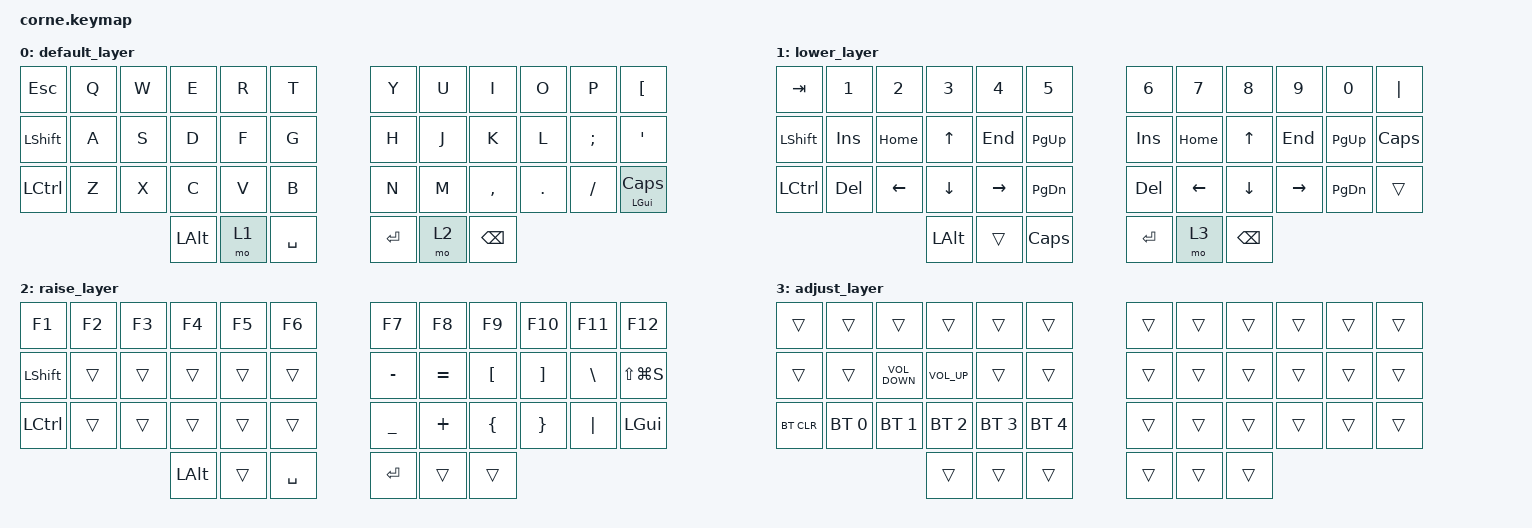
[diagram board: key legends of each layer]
/*
 * Copyright (c) 2020 The ZMK Contributors
 *
 * SPDX-License-Identifier: MIT
 */

#include <behaviors.dtsi>
#include <dt-bindings/zmk/bt.h>
#include <dt-bindings/zmk/keys.h>

/ {
    keymap {
        compatible = "zmk,keymap";

        default_layer {
            // -----------------------------------------------------------------------------------------
            // |  TAB |  Q  |  W  |  E  |  R  |  T  |   |  Y  |  U   |  I  |  O  |  P  | BKSP |
            // | CTRL |  A  |  S  |  D  |  F  |  G  |   |  H  |  J   |  K  |  L  |  ;  |  '   |
            // | SHFT |  Z  |  X  |  C  |  V  |  B  |   |  N  |  M   |  ,  |  .  |  /  | ESC  |
            //                    | GUI | LWR | SPC |   | ENT | RSE  | ALT |

            bindings = <
    &kp ESCAPE  &kp Q  &kp W         &kp E  &kp R      &kp T      &kp Y  &kp U          &kp I    &kp O     &kp P           &kp LBKT
&kp LEFT_SHIFT  &kp A  &kp S         &kp D  &kp F      &kp G      &kp H  &kp J          &kp K    &kp L  &kp SEMI            &kp SQT
     &kp LCTRL  &kp Z  &kp X         &kp C  &kp V      &kp B      &kp N  &kp M      &kp COMMA  &kp DOT  &kp FSLH  &mt LGUI CAPSLOCK
                              &kp LEFT_ALT  &mo 1  &kp SPACE    &kp RET  &mo 2  &kp BACKSPACE
            >;
        };

        lower_layer {
            // -----------------------------------------------------------------------------------------
            // |  TAB |  1  |  2  |  3  |  4  |  5  |   |  6  |  7  |  8  |  9  |  0  | BKSP |
            // | BTCLR| BT1 | BT2 | BT3 | BT4 | BT5 |   | LFT | DWN |  UP | RGT |     |      |
            // | SHFT |     |     |     |     |     |   |     |     |     |     |     |      |
            //                    | GUI |     | SPC |   | ENT |     | ALT |

            bindings = <
       &kp TAB      &kp N1          &kp N2          &kp N3     &kp N4         &kp N5        &kp N6          &kp N7         &kp N8           &kp N9         &kp N0      &kp PIPE
&kp LEFT_SHIFT  &kp INSERT        &kp HOME    &kp UP_ARROW    &kp END    &kp PAGE_UP    &kp INSERT        &kp HOME         &kp UP          &kp END      &kp PG_UP  &kp CAPSLOCK
     &kp LCTRL     &kp DEL  &kp LEFT_ARROW  &kp DOWN_ARROW  &kp RIGHT  &kp PAGE_DOWN    &kp DELETE  &kp LEFT_ARROW       &kp DOWN  &kp RIGHT_ARROW  &kp PAGE_DOWN        &trans
                                              &kp LEFT_ALT     &trans   &kp CAPSLOCK       &kp RET           &mo 3  &kp BACKSPACE
            >;
        };

        raise_layer {
            // -----------------------------------------------------------------------------------------
            // |  TAB |  !  |  @  |  #  |  $  |  %  |   |  ^  |  &  |  *  |  (  |  )  | BKSP |
            // | CTRL |     |     |     |     |     |   |  -  |  =  |  [  |  ]  |  \  |  `   |
            // | SHFT |     |     |     |     |     |   |  _  |  +  |  {  |  }  | "|" |  ~   |
            //                    | GUI |     | SPC |   | ENT |     | ALT |

            bindings = <
        &kp F1  &kp F2  &kp F3        &kp F4  &kp F5     &kp F6       &kp F7     &kp F8    &kp F9   &kp F10   &kp F11        &kp F12
&kp LEFT_SHIFT  &trans  &trans        &trans  &trans     &trans    &kp MINUS  &kp EQUAL  &kp LBKT  &kp RBKT  &kp BSLH  &kp LS(LG(S))
     &kp LCTRL  &trans  &trans        &trans  &trans     &trans    &kp UNDER   &kp PLUS  &kp LBRC  &kp RBRC  &kp PIPE       &kp LGUI
                                &kp LEFT_ALT  &trans  &kp SPACE      &kp RET     &trans    &trans
            >;
        };

        adjust_layer {
            bindings = <
    &trans        &trans             &trans           &trans        &trans        &trans    &trans  &trans  &trans  &trans  &trans  &trans
    &trans        &trans  &kp C_VOLUME_DOWN  &kp C_VOLUME_UP        &trans        &trans    &trans  &trans  &trans  &trans  &trans  &trans
&bt BT_CLR  &bt BT_SEL 0       &bt BT_SEL 1     &bt BT_SEL 2  &bt BT_SEL 3  &bt BT_SEL 4    &trans  &trans  &trans  &trans  &trans  &trans
                                                      &trans        &trans        &trans    &trans  &trans  &trans
            >;
        };
    };
};
